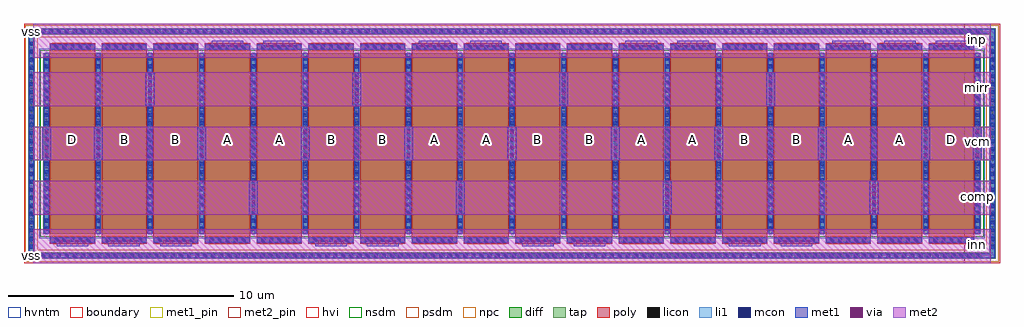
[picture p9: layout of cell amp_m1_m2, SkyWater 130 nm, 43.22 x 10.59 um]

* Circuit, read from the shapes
.subckt amp_m1_m2 comp inn inp mirr vcm vss
XM1 vcm inn vcm vss sky130_fd_pr__nfet_g5v0d10v5 w=8 l=2
XM2 mirr inn vcm vss sky130_fd_pr__nfet_g5v0d10v5 w=8 l=2 m=8
XM3 comp inp vcm vss sky130_fd_pr__nfet_g5v0d10v5 w=8 l=2 m=8
XM4 vcm inp vcm vss sky130_fd_pr__nfet_g5v0d10v5 w=8 l=2
.ends

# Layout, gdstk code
from math import pi, radians
import gdstk
lib = gdstk.Library(unit=1e-6, precision=1e-09)
def R(c, l, rs):  # rectangles x0, y0, x1, y1
    for r in rs: c.add(gdstk.rectangle(r[:2], r[2:], *l))
def A(c, l, x, y, w, h, nx, ny, dx, dy):  # array of equal rectangles
    R(c, l, [(x+i*dx, y+j*dy, x+i*dx+w, y+j*dy+h) for i in range(nx) for j in range(ny)])
diff = (65, 20)
tap = (65, 44)
poly = (66, 20)
licon = (66, 44)
li1 = (67, 20)
mcon = (67, 44)
met1_pin = (68, 16)
met1 = (68, 20)
via = (68, 44)
met2_pin = (69, 16)
met2 = (69, 20)
hvi = (75, 20)
nsdm = (93, 44)
psdm = (94, 20)
npc = (95, 20)
hvntm = (125, 20)
boundary = (235, 4)

via__m1_m2 = lib.new_cell('via__M1_M2')
R(via__m1_m2, met1, [(0,0.05,0.7,0.35)])
R(via__m1_m2, via, [(0.115,0.125,0.265,0.275), (0.435,0.125,0.585,0.275)])
R(via__m1_m2, met2, [(0.05,0,0.65,0.4)])

via_m1_m2_comb = lib.new_cell('via_M1_M2_comb')
R(via_m1_m2_comb, met1, [(0,0,1.4,0.4)])
R(via_m1_m2_comb, met2, [(0,0,1.4,0.4)])
via_m1_m2_comb.add(gdstk.Reference(via__m1_m2, (0,0)))
via_m1_m2_comb.add(gdstk.Reference(via__m1_m2, (0.7,0)))

via__li_m1 = lib.new_cell('via__LI_M1')
R(via__li_m1, li1, [(0.03,0.03,0.56,0.2)])
R(via__li_m1, mcon, [(0.03,0.03,0.2,0.2), (0.39,0.03,0.56,0.2)])
R(via__li_m1, met1, [(0,0,0.59,0.23)])

sky130_fd_pr__nfet_g5v0d = lib.new_cell('sky130_fd_pr__nfet_g5v0d10v5_MDDL8P')
R(sky130_fd_pr__nfet_g5v0d, diff, [(0.855,1.295,42.365,9.295)])
R(sky130_fd_pr__nfet_g5v0d, tap, [(0.185,0.185,43.035,0.475), (0.185,0.475,0.475,10.115), (42.745,0.475,43.035,10.115), (0.185,10.115,43.035,10.405)])
A(sky130_fd_pr__nfet_g5v0d, poly, 1.145, 0.855, 2, 8.88, 18, 1, 2.29, 0)
A(sky130_fd_pr__nfet_g5v0d, licon, 0.785, 0.245, 0.17, 0.17, 123, 2, 0.34, 9.93)
A(sky130_fd_pr__nfet_g5v0d, licon, 0.245, 0.79, 0.17, 0.17, 1, 27, 0, 0.34)
A(sky130_fd_pr__nfet_g5v0d, licon, 42.805, 0.79, 0.17, 0.17, 1, 27, 0, 0.34)
A(sky130_fd_pr__nfet_g5v0d, licon, 1.38, 0.935, 0.17, 0.17, 5, 2, 0.34, 8.55)
A(sky130_fd_pr__nfet_g5v0d, licon, 3.67, 0.935, 0.17, 0.17, 5, 2, 0.34, 8.55)
A(sky130_fd_pr__nfet_g5v0d, licon, 5.96, 0.935, 0.17, 0.17, 5, 2, 0.34, 8.55)
A(sky130_fd_pr__nfet_g5v0d, licon, 8.25, 0.935, 0.17, 0.17, 5, 2, 0.34, 8.55)
A(sky130_fd_pr__nfet_g5v0d, licon, 10.54, 0.935, 0.17, 0.17, 5, 2, 0.34, 8.55)
A(sky130_fd_pr__nfet_g5v0d, licon, 12.83, 0.935, 0.17, 0.17, 5, 2, 0.34, 8.55)
A(sky130_fd_pr__nfet_g5v0d, licon, 15.12, 0.935, 0.17, 0.17, 5, 2, 0.34, 8.55)
A(sky130_fd_pr__nfet_g5v0d, licon, 17.41, 0.935, 0.17, 0.17, 5, 2, 0.34, 8.55)
A(sky130_fd_pr__nfet_g5v0d, licon, 19.7, 0.935, 0.17, 0.17, 5, 2, 0.34, 8.55)
A(sky130_fd_pr__nfet_g5v0d, licon, 21.99, 0.935, 0.17, 0.17, 5, 2, 0.34, 8.55)
A(sky130_fd_pr__nfet_g5v0d, licon, 24.28, 0.935, 0.17, 0.17, 5, 2, 0.34, 8.55)
A(sky130_fd_pr__nfet_g5v0d, licon, 26.57, 0.935, 0.17, 0.17, 5, 2, 0.34, 8.55)
A(sky130_fd_pr__nfet_g5v0d, licon, 28.86, 0.935, 0.17, 0.17, 5, 2, 0.34, 8.55)
A(sky130_fd_pr__nfet_g5v0d, licon, 31.15, 0.935, 0.17, 0.17, 5, 2, 0.34, 8.55)
A(sky130_fd_pr__nfet_g5v0d, licon, 33.44, 0.935, 0.17, 0.17, 5, 2, 0.34, 8.55)
A(sky130_fd_pr__nfet_g5v0d, licon, 35.73, 0.935, 0.17, 0.17, 5, 2, 0.34, 8.55)
A(sky130_fd_pr__nfet_g5v0d, licon, 38.02, 0.935, 0.17, 0.17, 5, 2, 0.34, 8.55)
A(sky130_fd_pr__nfet_g5v0d, licon, 40.31, 0.935, 0.17, 0.17, 5, 2, 0.34, 8.55)
A(sky130_fd_pr__nfet_g5v0d, licon, 0.915, 1.47, 0.17, 0.17, 19, 23, 2.29, 0.34)
A(sky130_fd_pr__nfet_g5v0d, li1, 1.145, 0.935, 2, 0.17, 18, 2, 2.29, 8.55)
A(sky130_fd_pr__nfet_g5v0d, li1, 0.915, 1.275, 0.17, 8.04, 19, 1, 2.29, 0)
R(sky130_fd_pr__nfet_g5v0d, li1, [(0.245,0.245,42.975,0.415), (0.245,0.415,0.415,10.175), (42.805,0.415,42.975,10.175), (0.245,10.175,42.975,10.345)])
A(sky130_fd_pr__nfet_g5v0d, mcon, 1.34, 0.935, 0.17, 0.17, 5, 2, 0.36, 8.55)
A(sky130_fd_pr__nfet_g5v0d, mcon, 3.63, 0.935, 0.17, 0.17, 5, 2, 0.36, 8.55)
A(sky130_fd_pr__nfet_g5v0d, mcon, 5.92, 0.935, 0.17, 0.17, 5, 2, 0.36, 8.55)
A(sky130_fd_pr__nfet_g5v0d, mcon, 8.21, 0.935, 0.17, 0.17, 5, 2, 0.36, 8.55)
A(sky130_fd_pr__nfet_g5v0d, mcon, 10.5, 0.935, 0.17, 0.17, 5, 2, 0.36, 8.55)
A(sky130_fd_pr__nfet_g5v0d, mcon, 12.79, 0.935, 0.17, 0.17, 5, 2, 0.36, 8.55)
A(sky130_fd_pr__nfet_g5v0d, mcon, 15.08, 0.935, 0.17, 0.17, 5, 2, 0.36, 8.55)
A(sky130_fd_pr__nfet_g5v0d, mcon, 17.37, 0.935, 0.17, 0.17, 5, 2, 0.36, 8.55)
A(sky130_fd_pr__nfet_g5v0d, mcon, 19.66, 0.935, 0.17, 0.17, 5, 2, 0.36, 8.55)
A(sky130_fd_pr__nfet_g5v0d, mcon, 21.95, 0.935, 0.17, 0.17, 5, 2, 0.36, 8.55)
A(sky130_fd_pr__nfet_g5v0d, mcon, 24.24, 0.935, 0.17, 0.17, 5, 2, 0.36, 8.55)
A(sky130_fd_pr__nfet_g5v0d, mcon, 26.53, 0.935, 0.17, 0.17, 5, 2, 0.36, 8.55)
A(sky130_fd_pr__nfet_g5v0d, mcon, 28.82, 0.935, 0.17, 0.17, 5, 2, 0.36, 8.55)
A(sky130_fd_pr__nfet_g5v0d, mcon, 31.11, 0.935, 0.17, 0.17, 5, 2, 0.36, 8.55)
A(sky130_fd_pr__nfet_g5v0d, mcon, 33.4, 0.935, 0.17, 0.17, 5, 2, 0.36, 8.55)
A(sky130_fd_pr__nfet_g5v0d, mcon, 35.69, 0.935, 0.17, 0.17, 5, 2, 0.36, 8.55)
A(sky130_fd_pr__nfet_g5v0d, mcon, 37.98, 0.935, 0.17, 0.17, 5, 2, 0.36, 8.55)
A(sky130_fd_pr__nfet_g5v0d, mcon, 40.27, 0.935, 0.17, 0.17, 5, 2, 0.36, 8.55)
A(sky130_fd_pr__nfet_g5v0d, mcon, 0.915, 1.43, 0.17, 0.17, 19, 22, 2.29, 0.36)
A(sky130_fd_pr__nfet_g5v0d, met1, 1.165, 0.905, 1.96, 0.23, 18, 2, 2.29, 8.55)
A(sky130_fd_pr__nfet_g5v0d, met1, 0.885, 1.295, 0.23, 8, 19, 1, 2.29, 0)
R(sky130_fd_pr__nfet_g5v0d, hvi, [(0,0,43.22,10.59)])
R(sky130_fd_pr__nfet_g5v0d, nsdm, [(0.73,1.17,42.49,9.42)])
R(sky130_fd_pr__nfet_g5v0d, psdm, [(0.06,0.06,43.16,0.6), (0.06,0.6,0.6,9.99), (42.62,0.6,43.16,9.99), (0.06,9.99,43.16,10.53)])
A(sky130_fd_pr__nfet_g5v0d, npc, 1.28, 0.835, 1.73, 0.37, 18, 2, 2.29, 8.55)
R(sky130_fd_pr__nfet_g5v0d, hvntm, [(0.67,1.11,42.55,9.48)])
R(sky130_fd_pr__nfet_g5v0d, boundary, [(0.33,0.33,42.89,10.26)])

amp_m1_m2 = lib.new_cell('amp_m1_m2')
R(amp_m1_m2, met1_pin, [(0.215,0.215,0.445,0.445), (42.775,0.215,43.005,0.445), (0.215,10.145,0.445,10.375), (42.775,10.145,43.005,10.375)])
R(amp_m1_m2, met1, [(0.215,0.215,0.445,10.375), (0.215,0.215,43.005,0.445), (42.775,0.215,43.005,10.375), (0.215,10.145,43.005,10.375)])
A(amp_m1_m2, met2_pin, 41.645, 2.145, 1.16, 1.5, 1, 3, 0, 2.4)
R(amp_m1_m2, met2_pin, [(41.645,0,42.805,1.5), (41.645,9.09,42.805,10.59)])
A(amp_m1_m2, met2, 0.415, 2.145, 42.39, 1.5, 1, 3, 0, 2.4)
R(amp_m1_m2, met2, [(0.415,0,42.805,1.5), (0.415,9.09,42.805,10.59)])
amp_m1_m2.add(gdstk.Reference(via_m1_m2_comb, (2.845,1.135), rotation=pi))
amp_m1_m2.add(gdstk.Reference(via_m1_m2_comb, (5.135,1.135), rotation=pi))
amp_m1_m2.add(gdstk.Reference(via_m1_m2_comb, (7.425,1.135), rotation=pi))
amp_m1_m2.add(gdstk.Reference(via_m1_m2_comb, (14.295,1.135), rotation=pi))
amp_m1_m2.add(gdstk.Reference(via_m1_m2_comb, (16.585,1.135), rotation=pi))
amp_m1_m2.add(gdstk.Reference(via_m1_m2_comb, (23.455,1.135), rotation=pi))
amp_m1_m2.add(gdstk.Reference(via_m1_m2_comb, (25.745,1.135), rotation=pi))
amp_m1_m2.add(gdstk.Reference(via_m1_m2_comb, (32.615,1.135), rotation=pi))
amp_m1_m2.add(gdstk.Reference(via_m1_m2_comb, (34.905,1.135), rotation=pi))
amp_m1_m2.add(gdstk.Reference(via_m1_m2_comb, (9.715,9.855), rotation=pi))
amp_m1_m2.add(gdstk.Reference(via_m1_m2_comb, (12.005,9.855), rotation=pi))
amp_m1_m2.add(gdstk.Reference(via_m1_m2_comb, (18.875,9.855), rotation=pi))
amp_m1_m2.add(gdstk.Reference(via_m1_m2_comb, (21.165,9.855), rotation=pi))
amp_m1_m2.add(gdstk.Reference(via_m1_m2_comb, (28.035,9.855), rotation=pi))
amp_m1_m2.add(gdstk.Reference(via_m1_m2_comb, (30.325,9.855), rotation=pi))
amp_m1_m2.add(gdstk.Reference(via_m1_m2_comb, (37.195,9.855), rotation=pi))
amp_m1_m2.add(gdstk.Reference(via_m1_m2_comb, (39.485,9.855), rotation=pi))
amp_m1_m2.add(gdstk.Reference(via_m1_m2_comb, (41.775,9.855), rotation=pi))
amp_m1_m2.add(gdstk.Reference(via__li_m1, (0.215,1.195), rotation=3*pi/2))
amp_m1_m2.add(gdstk.Reference(via__li_m1, (42.775,1.195), rotation=3*pi/2))
amp_m1_m2.add(gdstk.Reference(via__li_m1, (0.215,1.915), rotation=3*pi/2))
amp_m1_m2.add(gdstk.Reference(via__li_m1, (42.775,1.915), rotation=3*pi/2))
amp_m1_m2.add(gdstk.Reference(via__li_m1, (0.215,2.635), rotation=3*pi/2))
amp_m1_m2.add(gdstk.Reference(via__li_m1, (42.775,2.635), rotation=3*pi/2))
amp_m1_m2.add(gdstk.Reference(via__li_m1, (0.215,3.355), rotation=3*pi/2))
amp_m1_m2.add(gdstk.Reference(via__li_m1, (42.775,3.355), rotation=3*pi/2))
amp_m1_m2.add(gdstk.Reference(via__li_m1, (0.215,4.075), rotation=3*pi/2))
amp_m1_m2.add(gdstk.Reference(via__li_m1, (42.775,4.075), rotation=3*pi/2))
amp_m1_m2.add(gdstk.Reference(via__li_m1, (0.215,4.795), rotation=3*pi/2))
amp_m1_m2.add(gdstk.Reference(via__li_m1, (42.775,4.795), rotation=3*pi/2))
amp_m1_m2.add(gdstk.Reference(via__li_m1, (0.215,5.515), rotation=3*pi/2))
amp_m1_m2.add(gdstk.Reference(via__li_m1, (42.775,5.515), rotation=3*pi/2))
amp_m1_m2.add(gdstk.Reference(via__li_m1, (0.215,6.235), rotation=3*pi/2))
amp_m1_m2.add(gdstk.Reference(via__li_m1, (42.775,6.235), rotation=3*pi/2))
amp_m1_m2.add(gdstk.Reference(via__li_m1, (0.215,6.955), rotation=3*pi/2))
amp_m1_m2.add(gdstk.Reference(via__li_m1, (42.775,6.955), rotation=3*pi/2))
amp_m1_m2.add(gdstk.Reference(via__li_m1, (0.215,7.675), rotation=3*pi/2))
amp_m1_m2.add(gdstk.Reference(via__li_m1, (42.775,7.675), rotation=3*pi/2))
amp_m1_m2.add(gdstk.Reference(via__li_m1, (0.215,8.395), rotation=3*pi/2))
amp_m1_m2.add(gdstk.Reference(via__li_m1, (42.775,8.395), rotation=3*pi/2))
amp_m1_m2.add(gdstk.Reference(via__li_m1, (0.215,9.115), rotation=3*pi/2))
amp_m1_m2.add(gdstk.Reference(via__li_m1, (42.775,9.115), rotation=3*pi/2))
amp_m1_m2.add(gdstk.Reference(via__li_m1, (0.215,9.835), rotation=3*pi/2))
amp_m1_m2.add(gdstk.Reference(via__li_m1, (42.775,9.835), rotation=3*pi/2))
amp_m1_m2.add(gdstk.Reference(via_m1_m2_comb, (9.96,3.595), rotation=3*pi/2))
amp_m1_m2.add(gdstk.Reference(via_m1_m2_comb, (19.12,3.595), rotation=3*pi/2))
amp_m1_m2.add(gdstk.Reference(via_m1_m2_comb, (28.28,3.595), rotation=3*pi/2))
amp_m1_m2.add(gdstk.Reference(via_m1_m2_comb, (37.44,3.595), rotation=3*pi/2))
amp_m1_m2.add(gdstk.Reference(via_m1_m2_comb, (0.8,5.995), rotation=3*pi/2))
amp_m1_m2.add(gdstk.Reference(via_m1_m2_comb, (3.09,5.995), rotation=3*pi/2))
amp_m1_m2.add(gdstk.Reference(via_m1_m2_comb, (7.67,5.995), rotation=3*pi/2))
amp_m1_m2.add(gdstk.Reference(via_m1_m2_comb, (12.25,5.995), rotation=3*pi/2))
amp_m1_m2.add(gdstk.Reference(via_m1_m2_comb, (16.83,5.995), rotation=3*pi/2))
amp_m1_m2.add(gdstk.Reference(via_m1_m2_comb, (21.41,5.995), rotation=3*pi/2))
amp_m1_m2.add(gdstk.Reference(via_m1_m2_comb, (25.99,5.995), rotation=3*pi/2))
amp_m1_m2.add(gdstk.Reference(via_m1_m2_comb, (30.57,5.995), rotation=3*pi/2))
amp_m1_m2.add(gdstk.Reference(via_m1_m2_comb, (35.15,5.995), rotation=3*pi/2))
amp_m1_m2.add(gdstk.Reference(via_m1_m2_comb, (39.73,5.995), rotation=3*pi/2))
amp_m1_m2.add(gdstk.Reference(via_m1_m2_comb, (42.02,5.995), rotation=3*pi/2))
amp_m1_m2.add(gdstk.Reference(via_m1_m2_comb, (5.38,8.395), rotation=3*pi/2))
amp_m1_m2.add(gdstk.Reference(via_m1_m2_comb, (14.54,8.395), rotation=3*pi/2))
amp_m1_m2.add(gdstk.Reference(via_m1_m2_comb, (23.7,8.395), rotation=3*pi/2))
amp_m1_m2.add(gdstk.Reference(via_m1_m2_comb, (32.86,8.395), rotation=3*pi/2))
amp_m1_m2.add(gdstk.Reference(via__li_m1, (0.71,0.215)))
amp_m1_m2.add(gdstk.Reference(via__li_m1, (1.43,0.215)))
amp_m1_m2.add(gdstk.Reference(via__li_m1, (2.15,0.215)))
amp_m1_m2.add(gdstk.Reference(via__li_m1, (2.87,0.215)))
amp_m1_m2.add(gdstk.Reference(via__li_m1, (3.59,0.215)))
amp_m1_m2.add(gdstk.Reference(via__li_m1, (4.31,0.215)))
amp_m1_m2.add(gdstk.Reference(via__li_m1, (5.03,0.215)))
amp_m1_m2.add(gdstk.Reference(via__li_m1, (5.75,0.215)))
amp_m1_m2.add(gdstk.Reference(via__li_m1, (6.47,0.215)))
amp_m1_m2.add(gdstk.Reference(via__li_m1, (7.19,0.215)))
amp_m1_m2.add(gdstk.Reference(via__li_m1, (7.91,0.215)))
amp_m1_m2.add(gdstk.Reference(via__li_m1, (8.63,0.215)))
amp_m1_m2.add(gdstk.Reference(via__li_m1, (9.35,0.215)))
amp_m1_m2.add(gdstk.Reference(via__li_m1, (10.07,0.215)))
amp_m1_m2.add(gdstk.Reference(via__li_m1, (10.79,0.215)))
amp_m1_m2.add(gdstk.Reference(via__li_m1, (11.51,0.215)))
amp_m1_m2.add(gdstk.Reference(via__li_m1, (12.23,0.215)))
amp_m1_m2.add(gdstk.Reference(via__li_m1, (12.95,0.215)))
amp_m1_m2.add(gdstk.Reference(via__li_m1, (13.67,0.215)))
amp_m1_m2.add(gdstk.Reference(via__li_m1, (14.39,0.215)))
amp_m1_m2.add(gdstk.Reference(via__li_m1, (15.11,0.215)))
amp_m1_m2.add(gdstk.Reference(via__li_m1, (15.83,0.215)))
amp_m1_m2.add(gdstk.Reference(via__li_m1, (16.55,0.215)))
amp_m1_m2.add(gdstk.Reference(via__li_m1, (17.27,0.215)))
amp_m1_m2.add(gdstk.Reference(via__li_m1, (17.99,0.215)))
amp_m1_m2.add(gdstk.Reference(via__li_m1, (18.71,0.215)))
amp_m1_m2.add(gdstk.Reference(via__li_m1, (19.43,0.215)))
amp_m1_m2.add(gdstk.Reference(via__li_m1, (20.15,0.215)))
amp_m1_m2.add(gdstk.Reference(via__li_m1, (20.87,0.215)))
amp_m1_m2.add(gdstk.Reference(via__li_m1, (21.59,0.215)))
amp_m1_m2.add(gdstk.Reference(via__li_m1, (22.31,0.215)))
amp_m1_m2.add(gdstk.Reference(via__li_m1, (23.03,0.215)))
amp_m1_m2.add(gdstk.Reference(via__li_m1, (23.75,0.215)))
amp_m1_m2.add(gdstk.Reference(via__li_m1, (24.47,0.215)))
amp_m1_m2.add(gdstk.Reference(via__li_m1, (25.19,0.215)))
amp_m1_m2.add(gdstk.Reference(via__li_m1, (25.91,0.215)))
amp_m1_m2.add(gdstk.Reference(via__li_m1, (26.63,0.215)))
amp_m1_m2.add(gdstk.Reference(via__li_m1, (27.35,0.215)))
amp_m1_m2.add(gdstk.Reference(via__li_m1, (28.07,0.215)))
amp_m1_m2.add(gdstk.Reference(via__li_m1, (28.79,0.215)))
amp_m1_m2.add(gdstk.Reference(via__li_m1, (29.51,0.215)))
amp_m1_m2.add(gdstk.Reference(via__li_m1, (30.23,0.215)))
amp_m1_m2.add(gdstk.Reference(via__li_m1, (30.95,0.215)))
amp_m1_m2.add(gdstk.Reference(via__li_m1, (31.67,0.215)))
amp_m1_m2.add(gdstk.Reference(via__li_m1, (32.39,0.215)))
amp_m1_m2.add(gdstk.Reference(via__li_m1, (33.11,0.215)))
amp_m1_m2.add(gdstk.Reference(via__li_m1, (33.83,0.215)))
amp_m1_m2.add(gdstk.Reference(via__li_m1, (34.55,0.215)))
amp_m1_m2.add(gdstk.Reference(via__li_m1, (35.27,0.215)))
amp_m1_m2.add(gdstk.Reference(via__li_m1, (35.99,0.215)))
amp_m1_m2.add(gdstk.Reference(via__li_m1, (36.71,0.215)))
amp_m1_m2.add(gdstk.Reference(via__li_m1, (37.43,0.215)))
amp_m1_m2.add(gdstk.Reference(via__li_m1, (38.15,0.215)))
amp_m1_m2.add(gdstk.Reference(via__li_m1, (38.87,0.215)))
amp_m1_m2.add(gdstk.Reference(via__li_m1, (39.59,0.215)))
amp_m1_m2.add(gdstk.Reference(via__li_m1, (40.31,0.215)))
amp_m1_m2.add(gdstk.Reference(via__li_m1, (41.03,0.215)))
amp_m1_m2.add(gdstk.Reference(via__li_m1, (41.75,0.215)))
amp_m1_m2.add(gdstk.Reference(via__li_m1, (0.71,10.145)))
amp_m1_m2.add(gdstk.Reference(via__li_m1, (1.43,10.145)))
amp_m1_m2.add(gdstk.Reference(via__li_m1, (2.15,10.145)))
amp_m1_m2.add(gdstk.Reference(via__li_m1, (2.87,10.145)))
amp_m1_m2.add(gdstk.Reference(via__li_m1, (3.59,10.145)))
amp_m1_m2.add(gdstk.Reference(via__li_m1, (4.31,10.145)))
amp_m1_m2.add(gdstk.Reference(via__li_m1, (5.03,10.145)))
amp_m1_m2.add(gdstk.Reference(via__li_m1, (5.75,10.145)))
amp_m1_m2.add(gdstk.Reference(via__li_m1, (6.47,10.145)))
amp_m1_m2.add(gdstk.Reference(via__li_m1, (7.19,10.145)))
amp_m1_m2.add(gdstk.Reference(via__li_m1, (7.91,10.145)))
amp_m1_m2.add(gdstk.Reference(via__li_m1, (8.63,10.145)))
amp_m1_m2.add(gdstk.Reference(via__li_m1, (9.35,10.145)))
amp_m1_m2.add(gdstk.Reference(via__li_m1, (10.07,10.145)))
amp_m1_m2.add(gdstk.Reference(via__li_m1, (10.79,10.145)))
amp_m1_m2.add(gdstk.Reference(via__li_m1, (11.51,10.145)))
amp_m1_m2.add(gdstk.Reference(via__li_m1, (12.23,10.145)))
amp_m1_m2.add(gdstk.Reference(via__li_m1, (12.95,10.145)))
amp_m1_m2.add(gdstk.Reference(via__li_m1, (13.67,10.145)))
amp_m1_m2.add(gdstk.Reference(via__li_m1, (14.39,10.145)))
amp_m1_m2.add(gdstk.Reference(via__li_m1, (15.11,10.145)))
amp_m1_m2.add(gdstk.Reference(via__li_m1, (15.83,10.145)))
amp_m1_m2.add(gdstk.Reference(via__li_m1, (16.55,10.145)))
amp_m1_m2.add(gdstk.Reference(via__li_m1, (17.27,10.145)))
amp_m1_m2.add(gdstk.Reference(via__li_m1, (17.99,10.145)))
amp_m1_m2.add(gdstk.Reference(via__li_m1, (18.71,10.145)))
amp_m1_m2.add(gdstk.Reference(via__li_m1, (19.43,10.145)))
amp_m1_m2.add(gdstk.Reference(via__li_m1, (20.15,10.145)))
amp_m1_m2.add(gdstk.Reference(via__li_m1, (20.87,10.145)))
amp_m1_m2.add(gdstk.Reference(via__li_m1, (21.59,10.145)))
amp_m1_m2.add(gdstk.Reference(via__li_m1, (22.31,10.145)))
amp_m1_m2.add(gdstk.Reference(via__li_m1, (23.03,10.145)))
amp_m1_m2.add(gdstk.Reference(via__li_m1, (23.75,10.145)))
amp_m1_m2.add(gdstk.Reference(via__li_m1, (24.47,10.145)))
amp_m1_m2.add(gdstk.Reference(via__li_m1, (25.19,10.145)))
amp_m1_m2.add(gdstk.Reference(via__li_m1, (25.91,10.145)))
amp_m1_m2.add(gdstk.Reference(via__li_m1, (26.63,10.145)))
amp_m1_m2.add(gdstk.Reference(via__li_m1, (27.35,10.145)))
amp_m1_m2.add(gdstk.Reference(via__li_m1, (28.07,10.145)))
amp_m1_m2.add(gdstk.Reference(via__li_m1, (28.79,10.145)))
amp_m1_m2.add(gdstk.Reference(via__li_m1, (29.51,10.145)))
amp_m1_m2.add(gdstk.Reference(via__li_m1, (30.23,10.145)))
amp_m1_m2.add(gdstk.Reference(via__li_m1, (30.95,10.145)))
amp_m1_m2.add(gdstk.Reference(via__li_m1, (31.67,10.145)))
amp_m1_m2.add(gdstk.Reference(via__li_m1, (32.39,10.145)))
amp_m1_m2.add(gdstk.Reference(via__li_m1, (33.11,10.145)))
amp_m1_m2.add(gdstk.Reference(via__li_m1, (33.83,10.145)))
amp_m1_m2.add(gdstk.Reference(via__li_m1, (34.55,10.145)))
amp_m1_m2.add(gdstk.Reference(via__li_m1, (35.27,10.145)))
amp_m1_m2.add(gdstk.Reference(via__li_m1, (35.99,10.145)))
amp_m1_m2.add(gdstk.Reference(via__li_m1, (36.71,10.145)))
amp_m1_m2.add(gdstk.Reference(via__li_m1, (37.43,10.145)))
amp_m1_m2.add(gdstk.Reference(via__li_m1, (38.15,10.145)))
amp_m1_m2.add(gdstk.Reference(via__li_m1, (38.87,10.145)))
amp_m1_m2.add(gdstk.Reference(via__li_m1, (39.59,10.145)))
amp_m1_m2.add(gdstk.Reference(via__li_m1, (40.31,10.145)))
amp_m1_m2.add(gdstk.Reference(via__li_m1, (41.03,10.145)))
amp_m1_m2.add(gdstk.Reference(via__li_m1, (41.75,10.145)))
amp_m1_m2.add(gdstk.Reference(sky130_fd_pr__nfet_g5v0d, (0,0)))
amp_m1_m2.add(gdstk.Label('A', (9.015,5.46), layer=83, texttype=44))
amp_m1_m2.add(gdstk.Label('A', (11.305,5.46), layer=83, texttype=44))
amp_m1_m2.add(gdstk.Label('A', (18.175,5.46), layer=83, texttype=44))
amp_m1_m2.add(gdstk.Label('A', (20.465,5.46), layer=83, texttype=44))
amp_m1_m2.add(gdstk.Label('A', (27.335,5.46), layer=83, texttype=44))
amp_m1_m2.add(gdstk.Label('A', (29.625,5.46), layer=83, texttype=44))
amp_m1_m2.add(gdstk.Label('A', (36.495,5.46), layer=83, texttype=44))
amp_m1_m2.add(gdstk.Label('A', (38.785,5.46), layer=83, texttype=44))
amp_m1_m2.add(gdstk.Label('B', (4.435,5.46), layer=83, texttype=44))
amp_m1_m2.add(gdstk.Label('B', (6.725,5.46), layer=83, texttype=44))
amp_m1_m2.add(gdstk.Label('B', (13.595,5.46), layer=83, texttype=44))
amp_m1_m2.add(gdstk.Label('B', (15.885,5.46), layer=83, texttype=44))
amp_m1_m2.add(gdstk.Label('B', (22.755,5.46), layer=83, texttype=44))
amp_m1_m2.add(gdstk.Label('B', (25.045,5.46), layer=83, texttype=44))
amp_m1_m2.add(gdstk.Label('B', (31.915,5.46), layer=83, texttype=44))
amp_m1_m2.add(gdstk.Label('B', (34.205,5.46), layer=83, texttype=44))
amp_m1_m2.add(gdstk.Label('D', (2.145,5.46), layer=83, texttype=44))
amp_m1_m2.add(gdstk.Label('D', (41.075,5.46), layer=83, texttype=44))
amp_m1_m2.add(gdstk.Label('mirr', (42.245,7.765), layer=69, texttype=5))
amp_m1_m2.add(gdstk.Label('comp', (42.245,2.965), layer=69, texttype=5))
amp_m1_m2.add(gdstk.Label('vcm', (42.245,5.365), layer=69, texttype=5))
amp_m1_m2.add(gdstk.Label('inn', (42.245,0.82), layer=69, texttype=5))
amp_m1_m2.add(gdstk.Label('inp', (42.245,9.91), layer=69, texttype=5))
amp_m1_m2.add(gdstk.Label('vss', (0.335,0.345), layer=68, texttype=5))
amp_m1_m2.add(gdstk.Label('vss', (42.895,0.345), layer=68, texttype=5))
amp_m1_m2.add(gdstk.Label('vss', (0.335,10.275), layer=68, texttype=5))
amp_m1_m2.add(gdstk.Label('vss', (42.895,10.275), layer=68, texttype=5))

lib.write_gds('amp_m1_m2.gds')
